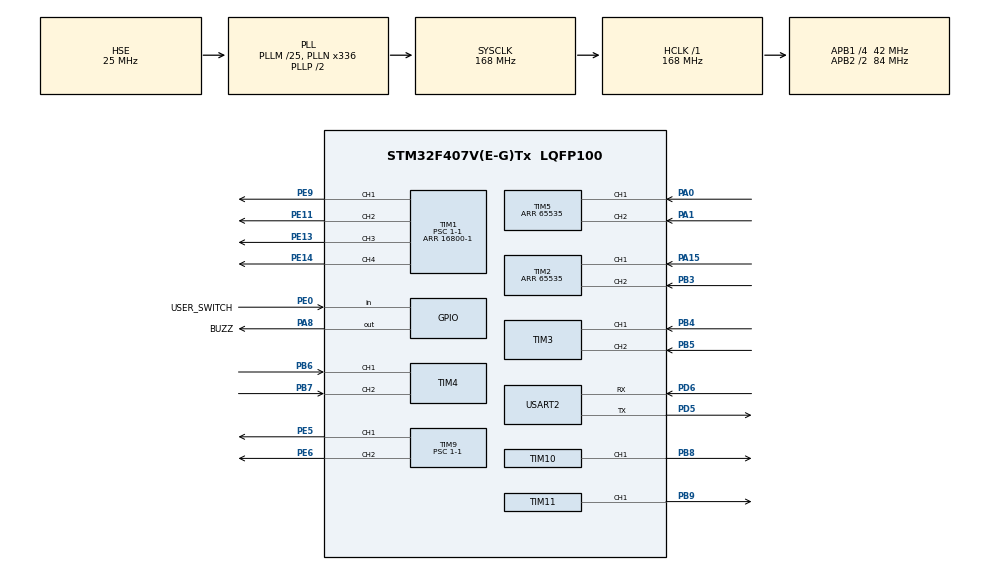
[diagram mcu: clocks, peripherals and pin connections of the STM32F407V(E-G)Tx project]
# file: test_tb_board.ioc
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Mcu.Family=STM32F4
Mcu.Name=STM32F407V(E-G)Tx
Mcu.Package=LQFP100
NVIC.PriorityGroup=NVIC_PRIORITYGROUP_4
NVIC.TIM2_IRQn=true\:0\:0\:false\:false\:true\:true\:true\:true
NVIC.TIM3_IRQn=true\:0\:0\:false\:false\:true\:true\:true\:true
NVIC.TIM4_IRQn=true\:0\:0\:false\:false\:true\:true\:true\:true
NVIC.TIM5_IRQn=true\:0\:0\:false\:false\:true\:true\:true\:true
PA0-WKUP.Signal=S_TIM5_CH1
PA1.Signal=S_TIM5_CH2
PA13.Mode=Serial_Wire
PA13.Signal=SYS_JTMS-SWDIO
PA14.Mode=Serial_Wire
PA14.Signal=SYS_JTCK-SWCLK
PA15.Signal=S_TIM2_CH1_ETR
PA8.GPIO_Label=BUZZ
PA8.GPIO_Speed=GPIO_SPEED_FREQ_VERY_HIGH
PA8.PinState=GPIO_PIN_RESET
PA8.Signal=GPIO_Output
PB3.Signal=S_TIM2_CH2
PB4.Signal=S_TIM3_CH1
PB5.Signal=S_TIM3_CH2
PB6.Signal=S_TIM4_CH1
PB7.Signal=S_TIM4_CH2
PB8.Signal=S_TIM10_CH1
PB9.Signal=S_TIM11_CH1
PC14-OSC32_IN.Mode=LSE-External-Oscillator
PC14-OSC32_IN.Signal=RCC_OSC32_IN
PC15-OSC32_OUT.Mode=LSE-External-Oscillator
PC15-OSC32_OUT.Signal=RCC_OSC32_OUT
PD5.Mode=Asynchronous
PD5.Signal=USART2_TX
PD6.Mode=Asynchronous
PD6.Signal=USART2_RX
PE0.GPIO_Label=USER_SWITCH
PE0.GPIO_PuPd=GPIO_PULLUP
PE0.Signal=GPIO_Input
PE11.Signal=S_TIM1_CH2
PE13.Signal=S_TIM1_CH3
PE14.Signal=S_TIM1_CH4
PE5.Signal=S_TIM9_CH1
PE6.Signal=S_TIM9_CH2
PE9.Signal=S_TIM1_CH1
PH0-OSC_IN.Mode=HSE-External-Oscillator
PH0-OSC_IN.Signal=RCC_OSC_IN
PH1-OSC_OUT.Mode=HSE-External-Oscillator
PH1-OSC_OUT.Signal=RCC_OSC_OUT
ProjectManager.HeapSize=0x200
ProjectManager.StackSize=0x400
ProjectManager.TargetToolchain=STM32CubeIDE
RCC.48MHZClocksFreq_Value=84000000
RCC.AHBFreq_Value=168000000
RCC.APB1CLKDivider=RCC_HCLK_DIV4
RCC.APB1Freq_Value=42000000
RCC.APB1TimFreq_Value=84000000
RCC.APB2CLKDivider=RCC_HCLK_DIV2
RCC.APB2Freq_Value=84000000
RCC.APB2TimFreq_Value=168000000
RCC.CortexFreq_Value=168000000
RCC.EnbaleCSS=true
RCC.HCLKFreq_Value=168000000
RCC.HSE_VALUE=25000000
RCC.HSI_VALUE=16000000
RCC.PLLM=25
RCC.PLLN=336
RCC.PLLSourceVirtual=RCC_PLLSOURCE_HSE
RCC.SYSCLKFreq_VALUE=168000000
RCC.SYSCLKSource=RCC_SYSCLKSOURCE_PLLCLK
RCC.VCOOutputFreq_Value=336000000
SH.S_TIM10_CH1.0=TIM10_CH1,PWM Generation1 CH1
SH.S_TIM11_CH1.0=TIM11_CH1,PWM Generation1 CH1
SH.S_TIM1_CH1.0=TIM1_CH1,PWM Generation1 CH1
SH.S_TIM1_CH2.0=TIM1_CH2,PWM Generation2 CH2
SH.S_TIM1_CH3.0=TIM1_CH3,PWM Generation3 CH3
SH.S_TIM1_CH4.0=TIM1_CH4,PWM Generation4 CH4
SH.S_TIM2_CH1_ETR.0=TIM2_CH1,Encoder_Interface
SH.S_TIM2_CH2.0=TIM2_CH2,Encoder_Interface
SH.S_TIM3_CH1.0=TIM3_CH1,Encoder_Interface
SH.S_TIM3_CH2.0=TIM3_CH2,Encoder_Interface
SH.S_TIM4_CH1.0=TIM4_CH1,Encoder_Interface
SH.S_TIM4_CH2.0=TIM4_CH2,Encoder_Interface
SH.S_TIM5_CH1.0=TIM5_CH1,Encoder_Interface
SH.S_TIM5_CH2.0=TIM5_CH2,Encoder_Interface
SH.S_TIM9_CH1.0=TIM9_CH1,PWM Generation1 CH1
SH.S_TIM9_CH2.0=TIM9_CH2,PWM Generation2 CH2
TIM1.AutoReloadPreload=TIM_AUTORELOAD_PRELOAD_ENABLE
TIM1.Channel-PWM\ Generation1\ CH1=TIM_CHANNEL_1
TIM1.Channel-PWM\ Generation2\ CH2=TIM_CHANNEL_2
TIM1.Channel-PWM\ Generation3\ CH3=TIM_CHANNEL_3
TIM1.Channel-PWM\ Generation4\ CH4=TIM_CHANNEL_4
TIM1.Period=16800-1
TIM1.Prescaler=1-1
TIM10.AutoReloadPreload=TIM_AUTORELOAD_PRELOAD_ENABLE
TIM10.Channel=TIM_CHANNEL_1
TIM10.Period=16800-1
TIM10.Prescaler=1-1
TIM11.AutoReloadPreload=TIM_AUTORELOAD_PRELOAD_ENABLE
TIM11.Channel=TIM_CHANNEL_1
TIM11.Period=16800-1
TIM11.Prescaler=1-1
TIM2.AutoReloadPreload=TIM_AUTORELOAD_PRELOAD_ENABLE
TIM2.EncoderMode=TIM_ENCODERMODE_TI12
TIM2.IC1Filter=10
TIM2.IC2Filter=10
TIM2.Period=65535
TIM3.AutoReloadPreload=TIM_AUTORELOAD_PRELOAD_ENABLE
TIM3.EncoderMode=TIM_ENCODERMODE_TI12
TIM3.IC1Filter=10
TIM3.IC2Filter=10
TIM4.AutoReloadPreload=TIM_AUTORELOAD_PRELOAD_ENABLE
TIM4.EncoderMode=TIM_ENCODERMODE_TI12
TIM4.IC1Filter=10
TIM4.IC2Filter=10
TIM5.AutoReloadPreload=TIM_AUTORELOAD_PRELOAD_ENABLE
TIM5.EncoderMode=TIM_ENCODERMODE_TI12
TIM5.IC1Filter=10
TIM5.IC2Filter=10
TIM5.Period=65535
TIM9.AutoReloadPreload=TIM_AUTORELOAD_PRELOAD_ENABLE
TIM9.Channel-PWM\ Generation1\ CH1=TIM_CHANNEL_1
TIM9.Channel-PWM\ Generation2\ CH2=TIM_CHANNEL_2
TIM9.Period=16800-1
TIM9.Prescaler=1-1
USART2.VirtualMode=VM_ASYNC
VP_TIM10_VS_ClockSourceINT.Mode=Enable_Timer
VP_TIM11_VS_ClockSourceINT.Mode=Enable_Timer
VP_TIM1_VS_ClockSourceINT.Mode=Internal
VP_TIM9_VS_ClockSourceINT.Mode=Internal
board=custom

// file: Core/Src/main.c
/* USER CODE BEGIN Header */
/**
 ******************************************************************************
 * @file           : main.c
 * @brief          : Main program body
 ******************************************************************************
 * @attention
 *
 * Copyright (c) 2025 STMicroelectronics.
 * All rights reserved.
 *
 * This software is licensed under terms that can be found in the LICENSE file
 * in the root directory of this software component.
 * If no LICENSE file comes with this software, it is provided AS-IS.
 *
 ******************************************************************************
 */
/* USER CODE END Header */
#include "main.h"
#include "tim.h"
#include "usart.h"
#include "gpio.h"

/* USER CODE BEGIN Includes */
#include "encoder.h"
#include "movement.h"
#include "pid-mecanum.h"
#include "controller.h"
#include <string.h>

/* USER CODE END Includes */

/* USER CODE BEGIN PV */
int stage = 0;
// BaseVelocity test_target_vel = {0, 0, 0};
WheelVelocity test_target_vel = {0, 0, 0, 0};
WheelPWM test_read_pwm = {0, 0, 0, 0};
WheelVelocity test_read_vel = {0, 0, 0, 0};
BaseVelocity test_base_vel = {0, 0, 0};
WheelVelocity test_pid_value = {0, 0, 0, 0};
BaseVelocity target_base_vel = {0, 0, 0};
float test_var_1 = 0;
char test_buffer[100] = "testing\n";
int start_time = 0;
/* USER CODE END PV */

void SystemClock_Config(void);

int main(void)
{

  /* MCU Configuration--------------------------------------------------------*/

  /* Reset of all peripherals, Initializes the Flash interface and the Systick. */
  HAL_Init();

  /* Configure the system clock */
  SystemClock_Config();

  /* Initialize all configured peripherals */
  MX_GPIO_Init();
  MX_TIM2_Init();
  MX_TIM10_Init();
  MX_TIM11_Init();
  MX_TIM3_Init();
  MX_TIM4_Init();
  MX_TIM5_Init();
  MX_TIM1_Init();
  MX_TIM9_Init();
  MX_USART2_UART_Init();
  /* USER CODE BEGIN 2 */
  HAL_GPIO_WritePin(BUZZ_GPIO_Port, BUZZ_Pin, GPIO_PIN_SET);
  HAL_Delay(500);
  HAL_GPIO_WritePin(BUZZ_GPIO_Port, BUZZ_Pin, GPIO_PIN_RESET);
  HAL_TIM_Base_Start_IT(&htim2);
  HAL_TIM_Encoder_Start_IT(&htim2, TIM_CHANNEL_ALL);
  HAL_TIM_Base_Start_IT(&htim3);
  HAL_TIM_Encoder_Start_IT(&htim3, TIM_CHANNEL_ALL);
  HAL_TIM_Base_Start_IT(&htim4);
  HAL_TIM_Encoder_Start_IT(&htim4, TIM_CHANNEL_ALL);
  HAL_TIM_Base_Start_IT(&htim5);
  HAL_TIM_Encoder_Start_IT(&htim5, TIM_CHANNEL_ALL);
  HAL_TIM_PWM_Start(&htim10, TIM_CHANNEL_1);
  HAL_TIM_PWM_Start(&htim11, TIM_CHANNEL_1);
  HAL_TIM_PWM_Start(&htim9, TIM_CHANNEL_1);
  HAL_TIM_PWM_Start(&htim9, TIM_CHANNEL_2);
  HAL_TIM_PWM_Start(&htim1, TIM_CHANNEL_1);
  HAL_TIM_PWM_Start(&htim1, TIM_CHANNEL_2);
  HAL_TIM_PWM_Start(&htim1, TIM_CHANNEL_3);
  HAL_TIM_PWM_Start(&htim1, TIM_CHANNEL_4);
  /* USER CODE END 2 */

  /* Infinite loop */
  while (1) {

    /* USER CODE BEGIN 3 */
  if (HAL_GPIO_ReadPin(USER_SWITCH_GPIO_Port, USER_SWITCH_Pin) == GPIO_PIN_RESET) {
    HAL_Delay(100);
    if (HAL_GPIO_ReadPin(USER_SWITCH_GPIO_Port, USER_SWITCH_Pin) == GPIO_PIN_RESET) {
      HAL_GPIO_WritePin(BUZZ_GPIO_Port, BUZZ_Pin, GPIO_PIN_SET);
      HAL_Delay(100);
      HAL_GPIO_WritePin(BUZZ_GPIO_Port, BUZZ_Pin, GPIO_PIN_RESET);

      stage++;
      if (stage > 6)
        stage = 0;

      // if (stage == 1) {
      //   test_base_vel.x_vel = 0;
      //   test_base_vel.y_vel = ROBOT_MAX_Y_VELOCITY * 0.75;
      //   test_base_vel.z_vel = 0;
      //   movement_control(test_base_vel);
      //   HAL_Delay(375);
      //   test_base_vel.x_vel = 0;
      //   test_base_vel.y_vel = 0;
      //   test_base_vel.z_vel = 0;
      //   movement_control(test_base_vel);
      // } else if (stage == 2) {
      //   test_base_vel.x_vel = 0;
      //   test_base_vel.y_vel = -ROBOT_MAX_Y_VELOCITY * 0.75;
      //   test_base_vel.z_vel = 0;
      //   movement_control(test_base_vel);
      //   HAL_Delay(375);
      //   test_base_vel.x_vel = 0;
      //   test_base_vel.y_vel = 0;
      //   test_base_vel.z_vel = 0;
      //   movement_control(test_base_vel);
      // } else if (stage == 3) {
      //   test_base_vel.x_vel = ROBOT_MAX_X_VELOCITY * 0.75;
      //   test_base_vel.y_vel = 0;
      //   test_base_vel.z_vel = 0;
      //   movement_control(test_base_vel);
      //   HAL_Delay(375);
      //   test_base_vel.x_vel = 0;
      //   test_base_vel.y_vel = 0;
      //   test_base_vel.z_vel = 0;
      //   movement_control(test_base_vel);
      // } else if (stage == 4) {
      //   test_base_vel.x_vel = -ROBOT_MAX_X_VELOCITY * 0.75;
      //   test_base_vel.y_vel = 0;
      //   test_base_vel.z_vel = 0;
      //   movement_control(test_base_vel);
      //   HAL_Delay(375);
      //   test_base_vel.x_vel = 0;
      //   test_base_vel.y_vel = 0;
      //   test_base_vel.z_vel = 0;
      //   movement_control(test_base_vel);
      // } else if (stage == 5) {
      //   test_base_vel.x_vel = 0;
      //   test_base_vel.y_vel = 0;
      //   test_base_vel.z_vel = ROBOT_MAX_Z_VELOCITY * 0.5;
      //   movement_control(test_base_vel);
      //   HAL_Delay(375);
      //   test_base_vel.x_vel = 0;
      //   test_base_vel.y_vel = 0;
      //   test_base_vel.z_vel = 0;
      //   movement_control(test_base_vel);
      // } else if (stage == 6) {
      //   test_base_vel.x_vel = 0;
      //   test_base_vel.y_vel = 0;
      //   test_base_vel.z_vel = -ROBOT_MAX_Z_VELOCITY * 0.5;
      //   movement_control(test_base_vel);
      //   HAL_Delay(375);
      //   test_base_vel.x_vel = 0;
      //   test_base_vel.y_vel = 0;
      //   test_base_vel.z_vel = 0;
      //   movement_control(test_base_vel);
      // }
      if (stage == 0) {
        test_base_vel.x_vel = 0;
        test_base_vel.y_vel = 0;
        test_base_vel.z_vel = 0;
      } else if (stage == 1) { // forward
        test_base_vel.x_vel = ROBOT_MAX_X_VELOCITY * 0.75;
        test_base_vel.y_vel = 0;
        test_base_vel.z_vel = 0;
      } else if (stage == 2) { // backward
        test_base_vel.x_vel = -ROBOT_MAX_X_VELOCITY * 0.75;
        test_base_vel.y_vel = 0;
        test_base_vel.z_vel = 0;
      } else if (stage == 3) { // right
        test_base_vel.x_vel = 0;
        test_base_vel.y_vel = ROBOT_MAX_Y_VELOCITY * 0.75;
        test_base_vel.z_vel = 0;
      } else if (stage == 4) { // left
        test_base_vel.x_vel = 0;
        test_base_vel.y_vel = -ROBOT_MAX_Y_VELOCITY * 0.75;
        test_base_vel.z_vel = 0;
      } else if (stage == 5) { // clockwise
        test_base_vel.x_vel = 0;
        test_base_vel.y_vel = 0;
        test_base_vel.z_vel = ROBOT_MAX_Z_VELOCITY * 0.5;
      } else if (stage == 6) { // anticlockwise
        test_base_vel.x_vel = 0;
        test_base_vel.y_vel = 0;
        test_base_vel.z_vel = -ROBOT_MAX_Z_VELOCITY * 0.5;
      }

      movement_control(test_base_vel);
    }
  }
  test_read_vel = read_current_velocity(encoders);
  // switch (stage) {
  //   case 1:
  //     target_base_vel.x_vel = ROBOT_MAX_X_VELOCITY * 0.75;
  //     target_base_vel.y_vel = ROBOT_MAX_Y_VELOCITY * 0.5;
  //     target_base_vel.z_vel = 0;
  //     break;
  //   default:
  //     target_base_vel.x_vel = 0;
  //     target_base_vel.y_vel = 0;
  //     target_base_vel.z_vel = 0;
  //     break;
  // }
//
//    movement_control(target_base_vel);
//
//    test_read_vel = read_current_velocity(encoders);
//    test_read_pwm = wheel2pwm(test_read_vel);
//    test_base_vel = wheel2base(test_read_vel);
  }
  /* USER CODE END 3 */
}

void SystemClock_Config(void)
{
  RCC_OscInitTypeDef RCC_OscInitStruct = {0};
  RCC_ClkInitTypeDef RCC_ClkInitStruct = {0};

  /** Configure the main internal regulator output voltage
  */
  __HAL_RCC_PWR_CLK_ENABLE();
  __HAL_PWR_VOLTAGESCALING_CONFIG(PWR_REGULATOR_VOLTAGE_SCALE1);

  /** Initializes the RCC Oscillators according to the specified parameters
  * in the RCC_OscInitTypeDef structure.
  */
  RCC_OscInitStruct.OscillatorType = RCC_OSCILLATORTYPE_HSE;
  RCC_OscInitStruct.HSEState = RCC_HSE_ON;
  RCC_OscInitStruct.PLL.PLLState = RCC_PLL_ON;
  RCC_OscInitStruct.PLL.PLLSource = RCC_PLLSOURCE_HSE;
  RCC_OscInitStruct.PLL.PLLM = 25;
  RCC_OscInitStruct.PLL.PLLN = 336;
  RCC_OscInitStruct.PLL.PLLP = RCC_PLLP_DIV2;
  RCC_OscInitStruct.PLL.PLLQ = 4;
  if (HAL_RCC_OscConfig(&RCC_OscInitStruct) != HAL_OK)
  {
    Error_Handler();
  }

  /** Initializes the CPU, AHB and APB buses clocks
  */
  RCC_ClkInitStruct.ClockType = RCC_CLOCKTYPE_HCLK|RCC_CLOCKTYPE_SYSCLK
                              |RCC_CLOCKTYPE_PCLK1|RCC_CLOCKTYPE_PCLK2;
  RCC_ClkInitStruct.SYSCLKSource = RCC_SYSCLKSOURCE_PLLCLK;
  RCC_ClkInitStruct.AHBCLKDivider = RCC_SYSCLK_DIV1;
  RCC_ClkInitStruct.APB1CLKDivider = RCC_HCLK_DIV4;
  RCC_ClkInitStruct.APB2CLKDivider = RCC_HCLK_DIV2;

  if (HAL_RCC_ClockConfig(&RCC_ClkInitStruct, FLASH_LATENCY_5) != HAL_OK)
  {
    Error_Handler();
  }

  /** Enables the Clock Security System
  */
  HAL_RCC_EnableCSS();
}

void Error_Handler(void)
{
  __disable_irq();
  while (1) {
  }
}
